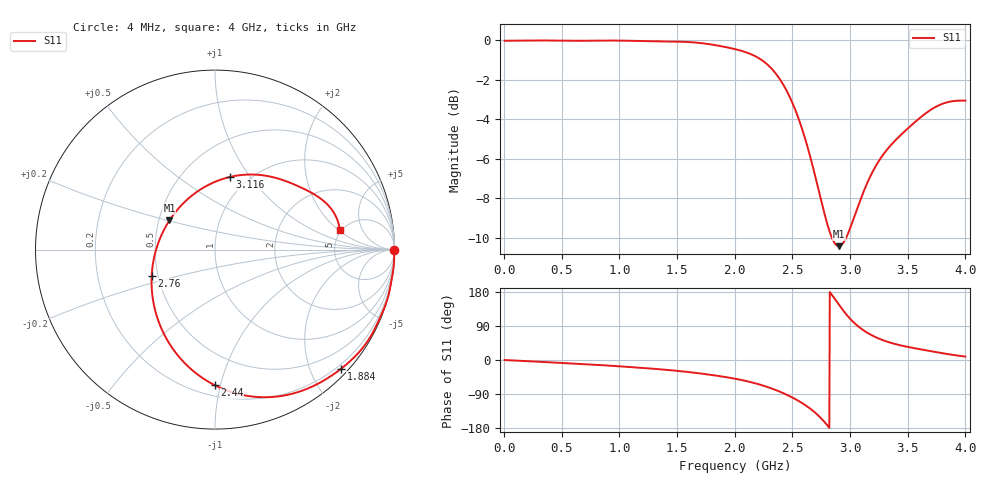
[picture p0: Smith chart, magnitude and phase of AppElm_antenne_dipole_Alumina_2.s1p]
! TOUCHSTONE file generated by CST MICROWAVE STUDIO
! Date and time: Sat May 14 11:42:11 2022
! Project name: AppElm_antenne_dipole_Alumina.cst
! Parameters = {L=26.4; e=0.035; f=2.45e+09; h=1.6; i=0.8; l1=2; lambda=122.449; ls=30; wl=1.7; ws=80}
! Header version: 2018
! Port assignment regex: !\s*Touchstone port\s*([0-9]+)\s*=\s*(CST MWS port|CST DS port)\s*([0-9]+|Zmin|Zmax)\s*\(\"(.*)\"\)(\s*mode\s*([0-9]+))?.*
! Touchstone port assignment:
! Touchstone port 1 = CST MWS port 1 ("")
# GHz S MA R 50
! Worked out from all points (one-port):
!   1000 points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, 4 MHz to 4 GHz, reference 50 ohm
!   lowest |S11| = -10.4 dB at 2.9 GHz (marker M1), VSWR 1.86, Z = 28.4 + j10.2 ohm
!   |S11| at or under -10 dB: 2.843 GHz to 2.965 GHz (122.4 MHz wide, 4.21 % of centre)
!   S11 on the Smith chart (normalised r, x): 4 MHz: open; 1.884 GHz: 0.12, -2.52; 2.44 GHz: 0.27, -0.96; 2.76 GHz: 0.46, -0.16; 3.116 GHz: 0.83, +0.81; 4 GHz: 4.80, +2.11
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0.004  0.9983 -0.1
0.504  0.9988 -7.8
1.004  0.9992 -16.7
1.504  0.9931 -28.7
1.696  0.9855 -35.3
1.884  0.9668 -43.3
2.004  0.9504 -49.5
2.14  0.9232 -58.5
2.268  0.8765 -69.7
2.356  0.8242 -79.3
2.44  0.7553 -90.1
2.504  0.6904 -99.7
2.568  0.6163 -110.6
2.64  0.526 -125.1
2.7  0.4505 -139.7
2.76  0.382 -157.4
2.836  0.3198 174.5
2.9  0.3014 147.4
2.948  0.3095 127.7
3.004  0.3367 107.6
3.06  0.3738 91.4
3.116  0.4132 78.4
3.196  0.4654 64.0
3.296  0.5181 51.0
3.388  0.5567 42.4
3.504  0.5999 34.3
3.776  0.6865 19.2
4  0.7042 9.1
